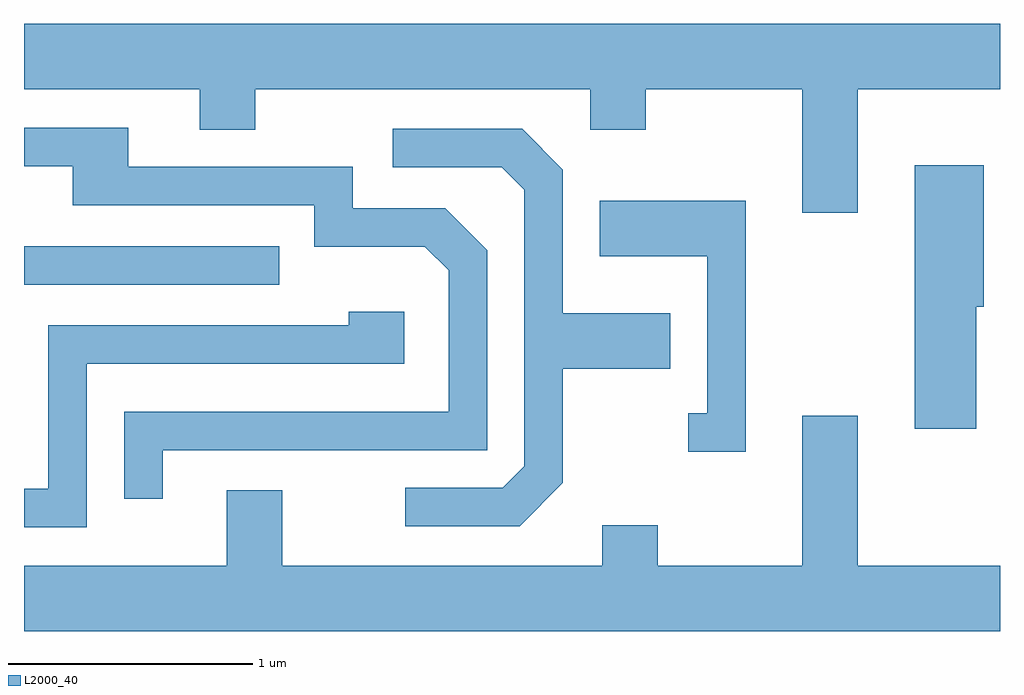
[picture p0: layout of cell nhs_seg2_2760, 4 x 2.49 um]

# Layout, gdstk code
import gdstk
lib = gdstk.Library(unit=1e-6, precision=1e-09)
def R(c, l, rs):  # rectangles x0, y0, x1, y1
    for r in rs: c.add(gdstk.rectangle(r[:2], r[2:], *l))
def P(c, l, *ps):  # polygons
    for p in ps: c.add(gdstk.Polygon(p, *l))
L2000_40 = (2000, 40)

nhs_seg2_2760 = lib.new_cell('nhs_seg2_2760')
R(nhs_seg2_2760, L2000_40, [(265.611,1071.936,266.658,1072.094)])
P(nhs_seg2_2760, L2000_40, [(269.029,1072.736),(269.611,1072.736),(269.611,1073.004),(265.611,1073.004),(265.611,1072.736),(266.331,1072.736),(266.331,1072.571),(266.559,1072.571),(266.559,1072.736),(267.931,1072.736),(267.931,1072.571),(268.159,1072.571),(268.159,1072.736),(268.801,1072.736),(268.801,1072.231),(269.029,1072.231)],
  [(266.179,1071.256),(267.509,1071.256),(267.509,1072.077),(267.337,1072.249),(266.959,1072.249),(266.959,1072.419),(266.039,1072.419),(266.039,1072.579),(265.611,1072.579),(265.611,1072.421),(265.811,1072.421),(265.811,1072.261),(266.801,1072.261),(266.801,1072.091),(267.254,1072.091),(267.351,1071.994),(267.351,1071.414),(266.021,1071.414),(266.021,1071.058),(266.179,1071.058)],
  [(267.819,1071.124),(267.819,1071.591),(268.259,1071.591),(268.259,1071.819),(267.819,1071.819),(267.819,1072.407),(267.652,1072.574),(267.123,1072.574),(267.123,1072.416),(267.569,1072.416),(267.661,1072.324),(267.661,1071.192),(267.574,1071.104),(267.173,1071.104),(267.173,1070.946),(267.642,1070.946)],
  [(269.514,1071.846),(269.544,1071.846),(269.544,1072.424),(269.261,1072.424),(269.261,1071.346),(269.514,1071.346)],
  [(268.569,1072.279),(267.971,1072.279),(267.971,1072.051),(268.411,1072.051),(268.411,1071.409),(268.333,1071.409),(268.333,1071.251),(268.569,1071.251)],
  [(265.869,1071.611),(267.169,1071.611),(267.169,1071.824),(266.941,1071.824),(266.941,1071.769),(265.711,1071.769),(265.711,1071.099),(265.611,1071.099),(265.611,1070.941),(265.869,1070.941)],
  [(269.611,1070.784),(269.029,1070.784),(269.029,1071.399),(268.801,1071.399),(268.801,1070.784),(268.209,1070.784),(268.209,1070.949),(267.981,1070.949),(267.981,1070.784),(266.669,1070.784),(266.669,1071.094),(266.441,1071.094),(266.441,1070.784),(265.611,1070.784),(265.611,1070.516),(269.611,1070.516)])

lib.write_gds('nhs_seg2_2760.gds')
